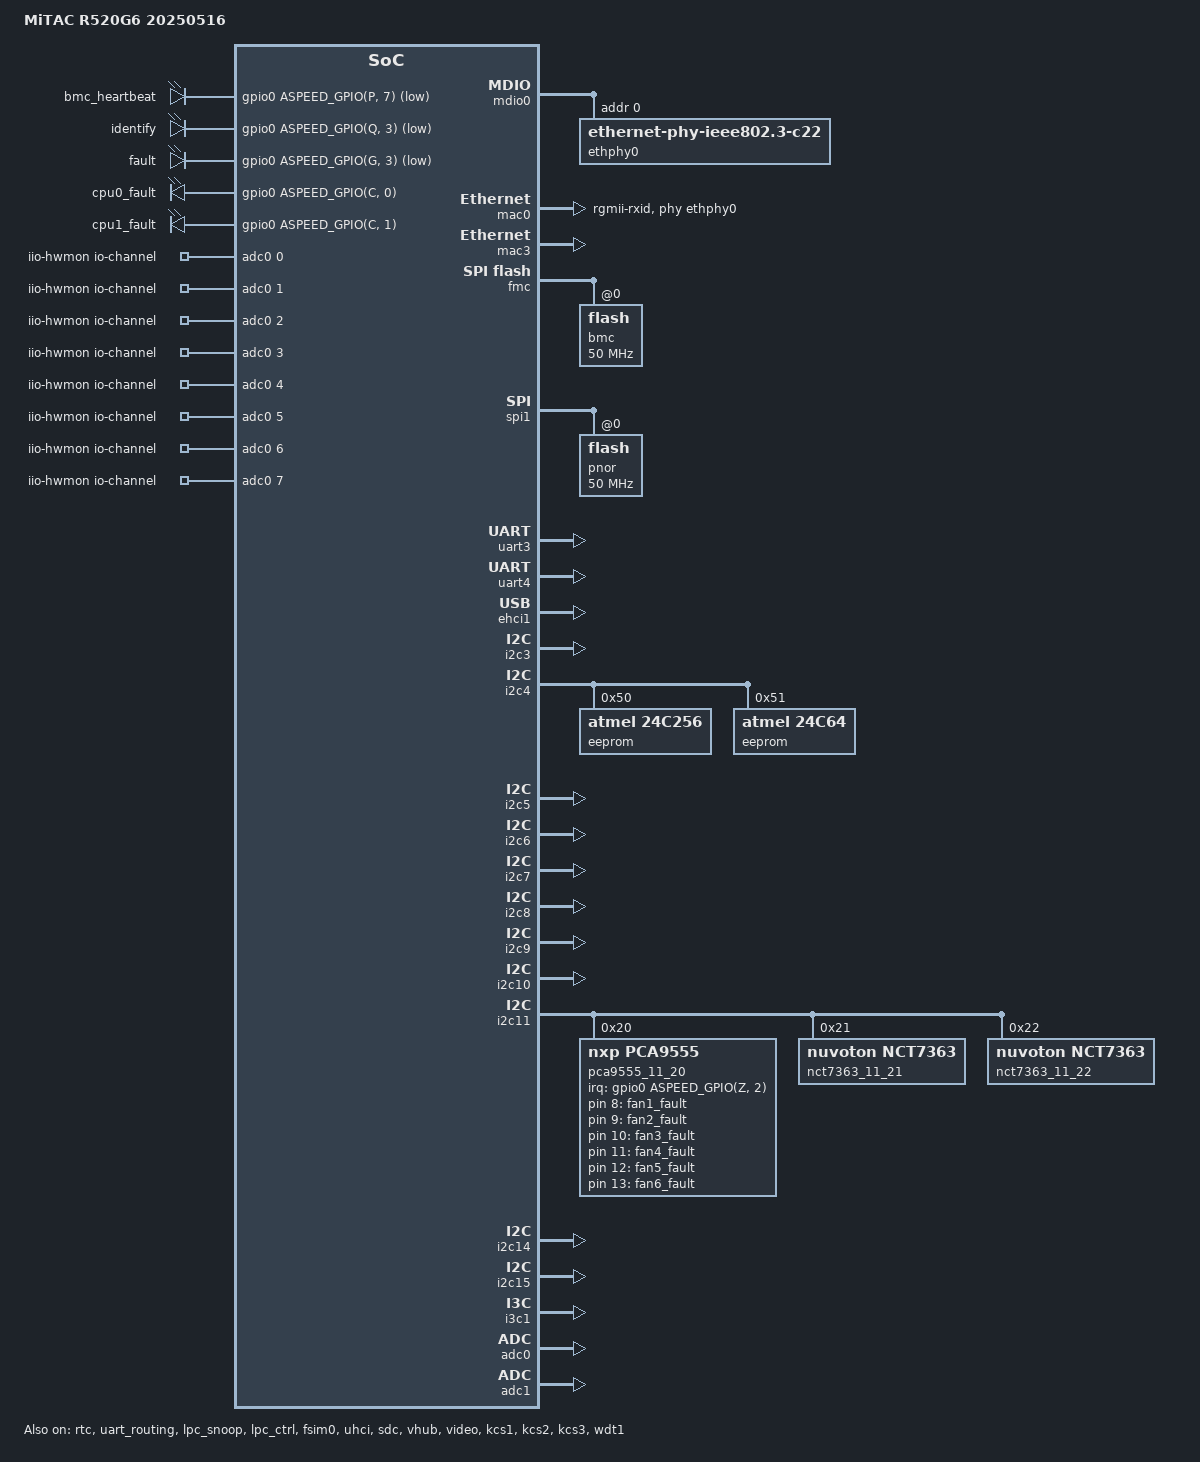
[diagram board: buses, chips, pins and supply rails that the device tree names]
// SPDX-License-Identifier: GPL-2.0-or-later
// Copyright 2024 MiTAC-Computing Corp.

/dts-v1/;

#include "aspeed-g6.dtsi"
#include <dt-bindings/gpio/aspeed-gpio.h>

/ {
	model = "MiTAC R520G6 20250516";
	#include "aspeed-bmc-mitac-2600-reserved-memory.dtsi"

        leds {
                compatible = "gpio-leds";

                bmc_heartbeat {
                        gpios = <&gpio0 ASPEED_GPIO(P, 7) GPIO_ACTIVE_LOW>;
                        default-state = "on";
                };
                identify {
                        gpios = <&gpio0 ASPEED_GPIO(Q, 3) GPIO_ACTIVE_LOW>;
                        default-state = "off";
                };
                fault {
                        gpios = <&gpio0 ASPEED_GPIO(G, 3) GPIO_ACTIVE_LOW>;
                        default-state = "off";
                };

                cpu0_fault {
                        gpios = <&gpio0 ASPEED_GPIO(C, 0) GPIO_ACTIVE_HIGH>;
                        default-state = "off";
                };
                cpu1_fault {
                        gpios = <&gpio0 ASPEED_GPIO(C, 1) GPIO_ACTIVE_HIGH>;
                        default-state = "off";
                };

                fan1_fault {
                        gpios = <&pca9555_11_20 8 GPIO_ACTIVE_HIGH>;
                        default-state = "off";
                };
                fan2_fault {
                        gpios = <&pca9555_11_20 9 GPIO_ACTIVE_HIGH>;
                        default-state = "off";
                };
                fan3_fault {
                        gpios = <&pca9555_11_20 10 GPIO_ACTIVE_HIGH>;
                        default-state = "off";
                };
                fan4_fault {
                        gpios = <&pca9555_11_20 11 GPIO_ACTIVE_HIGH>;
                        default-state = "off";
                };
                fan5_fault {
                        gpios = <&pca9555_11_20 12 GPIO_ACTIVE_HIGH>;
                        default-state = "off";
                };
                fan6_fault {
                        gpios = <&pca9555_11_20 13 GPIO_ACTIVE_HIGH>;
                        default-state = "off";
                };

		#include "aspeed-bmc-mitac-common-intel-bhs-sgpio-leds.dtsi"
        };

        gpio-keys {
                compatible = "gpio-keys";

		#include "aspeed-bmc-mitac-common-buttons.dtsi"
        };

        iio-hwmon {
                compatible = "iio-hwmon";
                io-channels = <&adc0 0>, <&adc0 1>, <&adc0 2>, <&adc0 3>,
                        <&adc0 4>, <&adc0 5>, <&adc0 6>, <&adc0 7>,
                        <&adc1 0>, <&adc1 1>, <&adc1 2>, <&adc1 3>,
                        <&adc1 4>, <&adc1 5>, <&adc1 6>, <&adc1 7>;
        };
};

&mdio0 {
	status = "okay";

	ethphy0: ethernet-phy@0 {
		compatible = "ethernet-phy-ieee802.3-c22";
		reg = <0>;
	};
};

&mac0 {
        status = "okay";

        phy-mode = "rgmii-rxid";
        phy-handle = <&ethphy0>;

        pinctrl-names = "default";
        pinctrl-0 = <&pinctrl_rgmii1_default>;
};

&mac3 {
        status = "okay";
        pinctrl-names = "default";
        pinctrl-0 = <&pinctrl_rmii4_default>;
        clock-names = "MACCLK", "RCLK";
        use-ncsi;
};

&rtc {
	status = "okay";
};

&fmc {
	status = "okay";
	flash@0 {
		status = "okay";
		m25p,fast-read;
		label = "bmc";
		spi-rx-bus-width = <4>;
		spi-max-frequency = <50000000>;
#include "MiOBMC-flash-layout-64.dtsi"
	};
};

&spi1 {
	status = "okay";
	pinctrl-names = "default";
	pinctrl-0 = <&pinctrl_spi1_default>;

	flash@0 {
		status = "okay";
		m25p,fast-read;
		label = "pnor";
		spi-rx-bus-width = <1>;
		spi-max-frequency = <50000000>;
	};
};

&uart3 {
        status = "okay";
};

&uart4 {
        status = "okay";
};

&uart5 {
	// Workaround for A0
	compatible = "snps,dw-apb-uart";
};

&uart_routing {
        status = "okay";
};

&lpc_snoop {
	status = "okay";
	snoop-ports = <0x80>, <0x81>;
};

&lpc_ctrl {
	status = "okay";
};

/*
&lpc_pcc {
        port-addr = <0x80>;
        dma-mode;
	// It is required to be 4 bytes mode when A2600-15 is activated.
        A2600-15;
        memory-region = <&pcc_memory>;
        rec-mode = <0x1>;
        port-addr-hbits-select = <0x1>;
        port-addr-xbits = <0x3>;

        status = "okay";
};
*/

&fsim0 {
	status = "okay";
};

&ehci1 {
	status = "okay";
};

&uhci {
	status = "okay";
};

&sdc {
	status = "okay";
};

&vhub {
	status = "okay";
	pinctrl-names = "default";
        pinctrl-0 = <&pinctrl_usb2ad_default>;
};

&video {
	status = "okay";
	memory-region = <&video_engine_memory>;
};

&kcs1 {
        kcs-io-addr = <0xca0>;
	kcs-channel = <1>;
        status = "okay";
};

&kcs2 {
        kcs-io-addr = <0xca8>;
	kcs-channel = <2>;
        status = "okay";
};

&kcs3 {
        kcs-io-addr = <0xca2>;
	kcs-channel = <3>;
        status = "okay";
};

&wdt1 {
        status = "okay";
        pinctrl-names = "default";
        pinctrl-0 = <&pinctrl_wdtrst1_default>;
        aspeed,reset-type = "soc";
        aspeed,external-signal;
        aspeed,ext-push-pull;
        aspeed,ext-active-high;
        aspeed,ext-pulse-duration = <256>;
};

/*
&wdt2 {
        status = "okay";
        pinctrl-names = "default";
        pinctrl-0 = <&pinctrl_wdtrst2_default>;
        aspeed,reset-type = "system";
};
*/

&mbox {
        status = "okay";
};

/*
&espi {
        status = "okay";
        perif-dma-mode;
        oob-dma-mode;
        flash-dma-mode;
};
*/

/*
&i2c1 {
	status = "okay";
};
&i2c2 {
        status = "okay";
};
*/

&i2c3 {
        status = "okay";
};
&i2c4 {
        status = "okay";
	// MB FRU for MPH
	eeprom@50 {
		compatible = "atmel,24c256";
		reg = <0x50>;
	};
	// DC-SCM FRU on E7142 DCSCM
	eeprom@51 {
		compatible = "atmel,24c64";
		reg = <0x51>;
	};
};
&i2c5 {
        status = "okay";
};
&i2c6 {
        status = "okay";
};
&i2c7 {
        status = "okay";
};
&i2c8 {
        status = "okay";
};
&i2c9 {
        status = "okay";
};
&i2c10 {
        status = "okay";
};
&i2c11 {
        status = "okay";
	/* Plan to move to device configurration for Entity Manager. */
	pca9555_11_20: pca9555@20 {
		compatible = "nxp,pca9555";
		reg = <0x20>;
		gpio-controller;
		#gpio-cells = <2>;
		interrupt-parent = <&gpio0>;
		interrupts = <ASPEED_GPIO(Z, 2) IRQ_TYPE_LEVEL_LOW>;
		gpio-line-names =
			"FAN1_PRSNT_N", "FAN2_PRSNT_N", "FAN3_PRSNT_N", "FAN4_PRSNT_N",
			"FAN5_PRSNT_N", "FAN6_PRSNT_N", "FAN7_PRSNT_N", "FAN8_PRSNT_N",
			"FAN_LED1", "FAN_LED2", "FAN_LED3", "FAN_LED4",
			"FAN_LED5", "FAN_LED6", "FAN_LED7", "FAN_LED8";
        };

	/* NCT7363 Driver Issue
	*  Intentionally attempt to initialize NCT7363 in device tree so that this FCB could be supported as second source.
        *  This arrangement is due to the NCT7363 driver doesn't have complete support for operations on Sysfs.
	*/ 
        nct7363_11_21: nct7363@21 {
            compatible = "nuvoton,nct7363";
            reg = <0x21>;
            #pwm-cells = <2>;

            fan-0 {
                pwms = <&nct7363_11_21 0 50000>;
                tach-ch = /bits/ 8 <9>;
            };
            fan-1 {
                pwms = <&nct7363_11_21 0 50000>;
                tach-ch = /bits/ 8 <10>;
            };
            fan-2 {
                pwms = <&nct7363_11_21 4 50000>;
                tach-ch = /bits/ 8 <13>;
            };
            fan-3 {
                pwms = <&nct7363_11_21 4 50000>;
                tach-ch = /bits/ 8 <14>;
            };
            fan-4 {
                pwms = <&nct7363_11_21 8 50000>;
                tach-ch = /bits/ 8 <1>;
            };
            fan-5 {
                pwms = <&nct7363_11_21 8 50000>;
                tach-ch = /bits/ 8 <2>;
            };
        };	

        nct7363_11_22: nct7363@22 {
            compatible = "nuvoton,nct7363";
            reg = <0x22>;
            #pwm-cells = <2>;

            fan-6 {
                pwms = <&nct7363_11_22 0 50000>;
                tach-ch = /bits/ 8 <9>;
            };
            fan-7 {
                pwms = <&nct7363_11_22 0 50000>;
                tach-ch = /bits/ 8 <10>;
            };
            fan-8 {
                pwms = <&nct7363_11_22 4 50000>;
                tach-ch = /bits/ 8 <13>;
            };
            fan-9 {
                pwms = <&nct7363_11_22 4 50000>;
                tach-ch = /bits/ 8 <14>;
            };
            fan-10 {
                pwms = <&nct7363_11_22 8 50000>;
                tach-ch = /bits/ 8 <1>;
            };
            fan-11 {
                pwms = <&nct7363_11_22 8 50000>;
                tach-ch = /bits/ 8 <2>;
            };
        };
};
/* Used as SGPIO
&i2c12 {
	status = "okay";
};
&i2c13 {
	status = "okay";
};
*/
&i2c14 {
        status = "okay";
};
&i2c15 {
        status = "okay";
};

/*
&i3c0 {
        status = "okay";
};
*/
#include <dt-bindings/i3c/i3c.h>

&i3c1 {
	bus-context = /bits/ 8 <I3C_BUS_CONTEXT_JESD403>;
        status = "okay";
};

&adc0 {
        status = "okay";
        pinctrl-0 = <&pinctrl_adc0_default &pinctrl_adc1_default
                        &pinctrl_adc2_default &pinctrl_adc3_default
                        &pinctrl_adc4_default &pinctrl_adc5_default
                        &pinctrl_adc6_default &pinctrl_adc7_default>;
};

&adc1 {
        status = "okay";
        pinctrl-0 = <&pinctrl_adc8_default &pinctrl_adc9_default
			&pinctrl_adc10_default &pinctrl_adc11_default
			&pinctrl_adc12_default &pinctrl_adc13_default
			&pinctrl_adc14_default &pinctrl_adc15_default>;
};

/*
&sgpiom0 {
        status = "okay";
        ngpios = <128>;
};

&sgpiom1 {
        status = "okay";
        ngpios = <128>;
};
*/

&gpio0 {
	gpio-line-names =
	/*A0-A7*/	"gpio-a0","","","","","","","",
	/*B0-B7*/	"gpio-b0","","","","","","","",
	/*C0-C7*/	"FM_SKT0_FAULT_LED","FM_SKT1_FAULT_LED","","",
			"","","","",
	/*D0-D7*/	"gpio-d0","","","",
			"","","","",
	/*E0-E7*/	"gpio-e0","","","","","","","",
	/*F0-F7*/	"gpio-f0","","",
			"","","",
			"","",
	/*G0-G7*/	"","","","",
			"identify-button","chassis-power-good","","",
	/*H0-H7*/	"gpio-h0","","",
			"","","","","",
	/*I0-I7*/	"gpio-i0","","","","","","","",
	/*J0-J7*/	"gpio-j0","","","","","","","",
	/*K0-K7*/	"gpio-k0","","","","","","","",
	/*L0-L7*/	"gpio-l0","","","","","","","",
	/*M0-M7*/	"gpio-00","","","",
			"","","","",
	/*N0-N7*/	"gpio-n0","nmi-control","","",
			"","","","",
	/*O0-O7*/	"gpio-o0","","","","","","","",
	/*P0-P7*/	"reset-button","reset-control","power-button","power-control",
			"nmi-button","","","",
	/*Q0-Q7*/	"gpio-q0","","","identify-led","","","","",
	/*R0-R7*/	"gpio-r0","fcb-stby-en","","","bmc-ready-n","","","",
	/*S0-S7*/	"gpio-s0","","","",
			"","cmos-bat-scaled-en-n","","",
	/*T0-T7*/	"gpio-t0","","","","","","","",
	/*U0-U7*/	"gpio-u0","","","","","","","",
	/*V0-V7*/	"SIO_S3","SIO_S5","","SIO_ONCONTROL",
			"SIO_POWER_GOOD","spi-mux-bios","","",
	/*W0-W7*/	"gpio-w0","","","",
			"","","","",
	/*X0-X7*/	"gpio-x0","",
			"bios-post-complete","",
			"","",
			"","",
	/*Y0-Y7*/	"gpio-y0","","","","","","","",
	/*Z0-Z7*/	"gpio-z0","","FM_FAN_PCA9555_INT_R_N","","","","","";
};

&gpio1 {
	gpio-line-names =
	/*18A0-18A7*/	"","","","",
			"","","","",
	/*18B0-18B7*/	"","","","","","","","",
	/*18C0-18C7*/	"","","","",
			"","","","",
	/*18D0-18D7*/	"","","","","","","","",
	/*18E0-18E3*/	"","","","";
};

#include "aspeed-bmc-mitac-common.dtsi"
#include "aspeed-bmc-mitac-2600-enable-dp.dtsi"
#include "aspeed-bmc-mitac-common-intel.dtsi"
#include "aspeed-bmc-mitac-common-intel-bhs-sgpio.dtsi"
